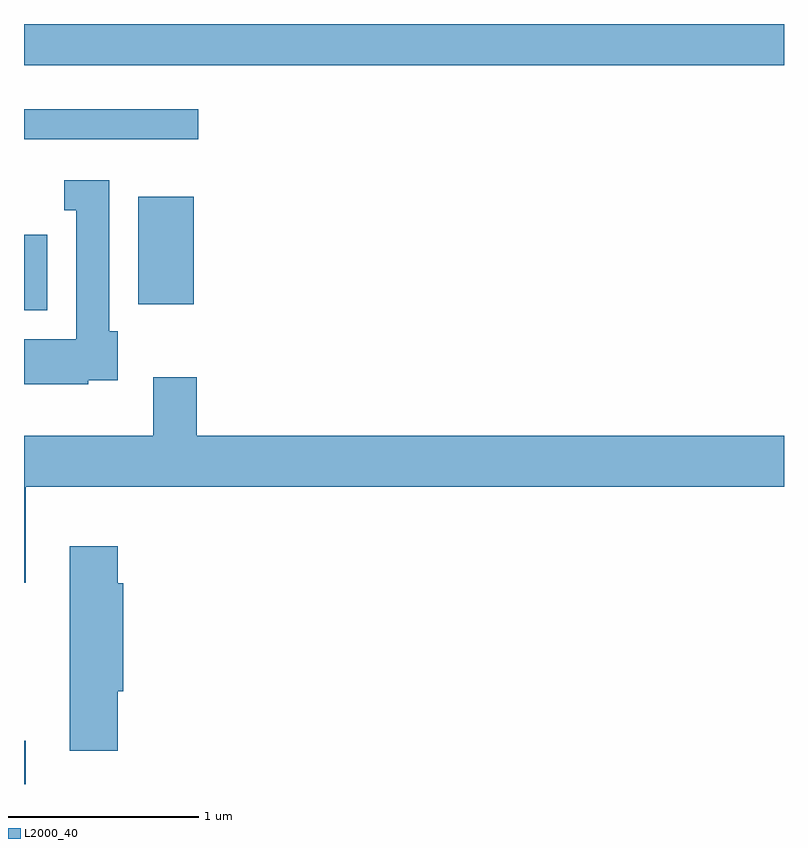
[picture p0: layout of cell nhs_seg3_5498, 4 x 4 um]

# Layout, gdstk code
import gdstk
lib = gdstk.Library(unit=1e-6, precision=1e-09)
def R(c, l, rs):  # rectangles x0, y0, x1, y1
    for r in rs: c.add(gdstk.rectangle(r[:2], r[2:], *l))
def P(c, l, *ps):  # polygons
    for p in ps: c.add(gdstk.Polygon(p, *l))
L2000_40 = (2000, 40)

nhs_seg3_5498 = lib.new_cell('nhs_seg3_5498')
R(nhs_seg3_5498, L2000_40, [(345.611,1239.892,345.619,1240.119), (345.611,1242.386,345.734,1242.784), (346.211,1242.416,346.504,1242.984), (345.611,1243.286,346.528,1243.444), (345.611,1243.676,349.611,1243.892)])
P(nhs_seg3_5498, L2000_40, [(345.949,1242.016),(346.104,1242.016),(346.104,1242.274),(346.059,1242.274),(346.059,1243.069),(345.823,1243.069),(345.823,1242.911),(345.886,1242.911),(345.886,1242.234),(345.611,1242.234),(345.611,1241.996),(345.949,1241.996)],
  [(345.619,1241.456),(349.611,1241.456),(349.611,1241.724),(346.519,1241.724),(346.519,1242.034),(346.291,1242.034),(346.291,1241.724),(345.611,1241.724),(345.611,1240.951),(345.619,1240.951)],
  [(346.104,1240.381),(346.134,1240.381),(346.134,1240.949),(346.104,1240.949),(346.104,1241.144),(345.851,1241.144),(345.851,1240.066),(346.104,1240.066)])

lib.write_gds('nhs_seg3_5498.gds')
